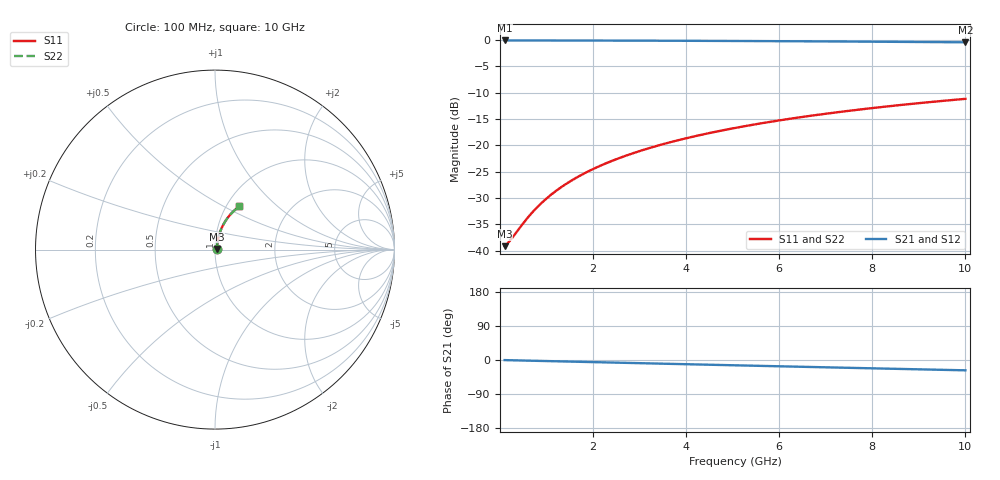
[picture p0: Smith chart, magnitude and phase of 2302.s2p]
# Hz S RI R 50.00
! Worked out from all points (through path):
!   100 points, 100 MHz to 10 GHz, reference 50 ohm
!   highest |S21| = -0.09 dB at 100 MHz (marker M1); lowest = -0.4 dB at 10 GHz (marker M2)
!   group delay of S21, straight-line fit = 7.58 ps
!   lowest |S11| = -39.1 dB at 100 MHz (marker M3), VSWR 1.02, Z = 51.1 + j0.295 ohm
!   |S11| at or under -10 dB: start of sweep to end of sweep
!   |S22| runs from -39.1 to -11.2 dB; largest |S21 - S12| = 0
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1e8  0.0107 0.00289  0.9893 -0.00482  0.9893 -0.00482  0.0107 0.00289
2e8  0.0108 0.00577  0.9892 -0.00963  0.9892 -0.00963  0.0108 0.00577
5e8  0.0112 0.0144  0.9887 -0.0241  0.9887 -0.0241  0.0112 0.0144
6e8  0.0114 0.0173  0.9885 -0.0289  0.9885 -0.0289  0.0114 0.0173
7e8  0.0116 0.0202  0.9883 -0.0337  0.9883 -0.0337  0.0116 0.0202
9e8  0.0121 0.0259  0.9877 -0.0433  0.9877 -0.0433  0.0121 0.0259
1.1e9  0.0127 0.0317  0.987 -0.0529  0.987 -0.0529  0.0127 0.0317
1.3e9  0.0134 0.0374  0.9862 -0.0625  0.9862 -0.0625  0.0134 0.0374
1.5e9  0.0142 0.0431  0.9853 -0.072  0.9853 -0.072  0.0142 0.0431
1.8e9  0.0157 0.0516  0.9837 -0.0863  0.9837 -0.0863  0.0157 0.0516
2.1e9  0.0173 0.06  0.9818 -0.1006  0.9818 -0.1006  0.0173 0.06
2.5e9  0.0199 0.0712  0.9788 -0.1195  0.9788 -0.1195  0.0199 0.0712
2.9e9  0.023 0.0823  0.9754 -0.1383  0.9754 -0.1383  0.023 0.0823
3.4e9  0.0273 0.0959  0.9704 -0.1616  0.9704 -0.1616  0.0273 0.0959
3.8e9  0.0313 0.1066  0.9659 -0.18  0.9659 -0.18  0.0313 0.1066
4.2e9  0.0356 0.1172  0.961 -0.1983  0.961 -0.1983  0.0356 0.1172
5.1e9  0.0469 0.1401  0.9482 -0.2387  0.9482 -0.2387  0.0469 0.1401
5.9e9  0.0584 0.1595  0.935 -0.2736  0.935 -0.2736  0.0584 0.1595
6.7e9  0.0712 0.1778  0.9202 -0.3075  0.9202 -0.3075  0.0712 0.1778
7.5e9  0.0853 0.195  0.9039 -0.3403  0.9039 -0.3403  0.0853 0.195
8.4e9  0.1025 0.2128  0.8839 -0.3758  0.8839 -0.3758  0.1025 0.2128
1e10  0.1361 0.2405  0.8446 -0.4348  0.8446 -0.4348  0.1361 0.2405
